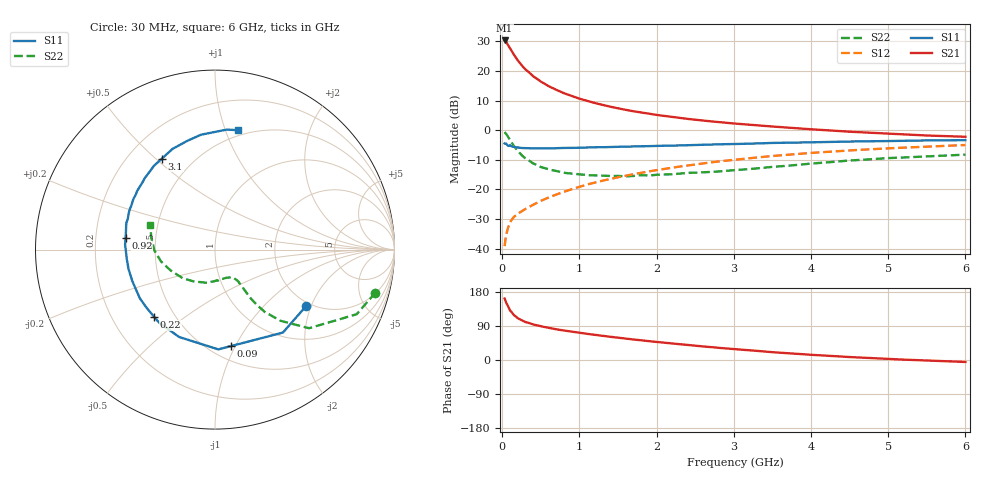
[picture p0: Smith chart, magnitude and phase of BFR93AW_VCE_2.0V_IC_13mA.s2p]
! Infineon Technologies  Discrete & RF Semiconductors
! BFR93AW
! VCE =  2.0 V,  IC =  13 mA
! Common Emitter S-Parameters:  Nov 2015
# GHz  S  MA  R  50
!  f  S11  S21  S12  S22
! GHz  MAG  ANG  MAG  ANG  MAG  ANG  MAG  ANG
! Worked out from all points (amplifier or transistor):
!   206 points, 30 MHz to 6 GHz, reference 50 ohm
!   highest |S21| = 30.3 dB at 30 MHz (marker M1)
!   |S21| within 3 dB of that: start of sweep to 109.5 MHz
!   unconditionally stable (mu >= 1): 641.7 MHz to 2.39 GHz
!   at 200 MHz: K = 0.58, MSG = 25.9 dB, |S12| = -28.3 dB
!   at 1.56 GHz: K = 1.06, MAG = 9.8 dB, |S12| = -15.6 dB
!   at 6 GHz: K = 0.94, MSG = 1.4 dB, |S12| = -5.0 dB
!   S11 on the Smith chart (normalised r, x): 30 MHz: 1.88, -1.84; 90 MHz: 0.63, -0.96; 220 MHz: 0.39, -0.39; 920 MHz: 0.33, +0.06; 3.1 GHz: 0.34, +0.52; 6 GHz: 0.45, +1.11
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0.03  0.5969 -31.9  32.72 162.3  0.011 74.5  0.9254 -15.0
0.05  0.5973 -50.7  30.96 150.7  0.0172 69.8  0.8678 -24.5
0.09  0.5447 -80.4  25.33 135.6  0.0258 60.6  0.7151 -36.2
0.1  0.5562 -88.1  24.28 130.8  0.028 59.2  0.6829 -39.9
0.15  0.5264 -112.3  18.79 118.4  0.0343 54.3  0.5386 -47.4
0.2  0.5125 -127.5  15.11 110.3  0.0386 53.2  0.4446 -51.4
0.22  0.5052 -132.2  14.04 108.2  0.0402 53.4  0.4177 -52.0
0.26  0.4997 -140.9  12.1 103.7  0.0434 53.9  0.3688 -53.2
0.3  0.4989 -147.1  10.63 100.2  0.0468 55.2  0.3342 -53.8
0.4  0.493 -159.0  8.132 93.7  0.0549 57.3  0.2745 -53.8
0.5  0.4938 -167.3  6.602 88.7  0.064 60.3  0.2384 -53.9
0.6  0.4944 -173.0  5.539 84.7  0.0729 62.1  0.2179 -53.9
0.7  0.4959 -178.6  4.793 81.0  0.0819 63.3  0.2039 -54.9
0.92  0.5021 172.5  3.692 74.1  0.1031 65.0  0.1837 -57.9
1.04  0.5067 168.2  3.286 70.7  0.1147 65.2  0.1769 -61.0
1.2  0.5158 163.3  2.868 66.3  0.1303 65.4  0.172 -65.1
1.5  0.525 155.4  2.333 58.9  0.1602 64.8  0.169 -74.3
2.02  0.5437 142.5  1.795 47.1  0.2137 61.9  0.1774 -91.7
3.1  0.5871 120.2  1.266 27.3  0.3256 52.7  0.2151 -125.1
4.1  0.628 102.9  1.016 12.6  0.4213 41.9  0.2787 -157.5
5.1  0.6576 89.3  0.861 1.8  0.5006 30.7  0.3416 178.3
6  0.6782 78.9  0.774 -5.2  0.5614 21.2  0.3863 158.8
